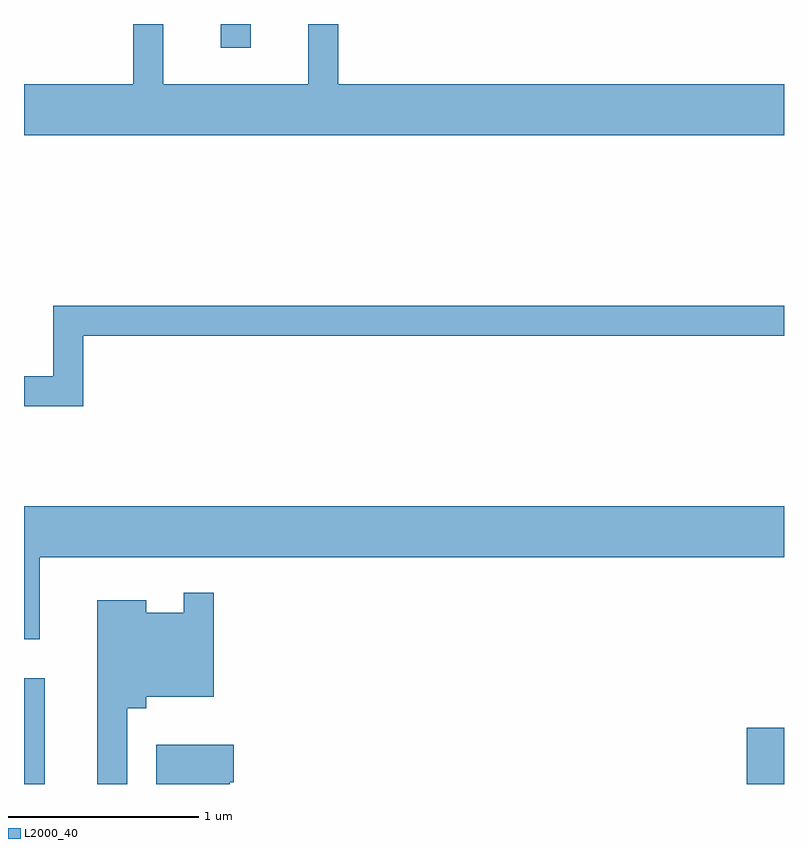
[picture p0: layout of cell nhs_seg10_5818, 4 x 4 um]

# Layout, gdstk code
import gdstk
lib = gdstk.Library(unit=1e-6, precision=1e-09)
def R(c, l, rs):  # rectangles x0, y0, x1, y1
    for r in rs: c.add(gdstk.rectangle(r[:2], r[2:], *l))
def P(c, l, *ps):  # polygons
    for p in ps: c.add(gdstk.Polygon(p, *l))
L2000_40 = (2000, 40)

nhs_seg10_5818 = lib.new_cell('nhs_seg10_5818')
R(nhs_seg10_5818, L2000_40, [(357.611,2090.522,357.719,2091.079), (361.416,2090.522,361.611,2090.819), (358.646,2094.398,358.804,2094.522)])
P(nhs_seg10_5818, L2000_40, [(361.611,2094.204),(359.264,2094.204),(359.264,2094.522),(359.106,2094.522),(359.106,2094.204),(358.344,2094.204),(358.344,2094.522),(358.186,2094.522),(358.186,2094.204),(357.611,2094.204),(357.611,2093.936),(361.611,2093.936)],
  [(357.924,2092.881),(361.611,2092.881),(361.611,2093.039),(357.766,2093.039),(357.766,2092.669),(357.611,2092.669),(357.611,2092.511),(357.924,2092.511)],
  [(357.694,2091.716),(361.611,2091.716),(361.611,2091.984),(357.611,2091.984),(357.611,2091.283),(357.694,2091.283)],
  [(358.154,2090.921),(358.254,2090.921),(358.254,2090.981),(358.609,2090.981),(358.609,2091.528),(358.451,2091.528),(358.451,2091.424),(358.254,2091.424),(358.254,2091.489),(357.996,2091.489),(357.996,2090.522),(358.154,2090.522)],
  [(358.694,2090.531),(358.714,2090.531),(358.714,2090.729),(358.306,2090.729),(358.306,2090.522),(358.694,2090.522)])

lib.write_gds('nhs_seg10_5818.gds')
